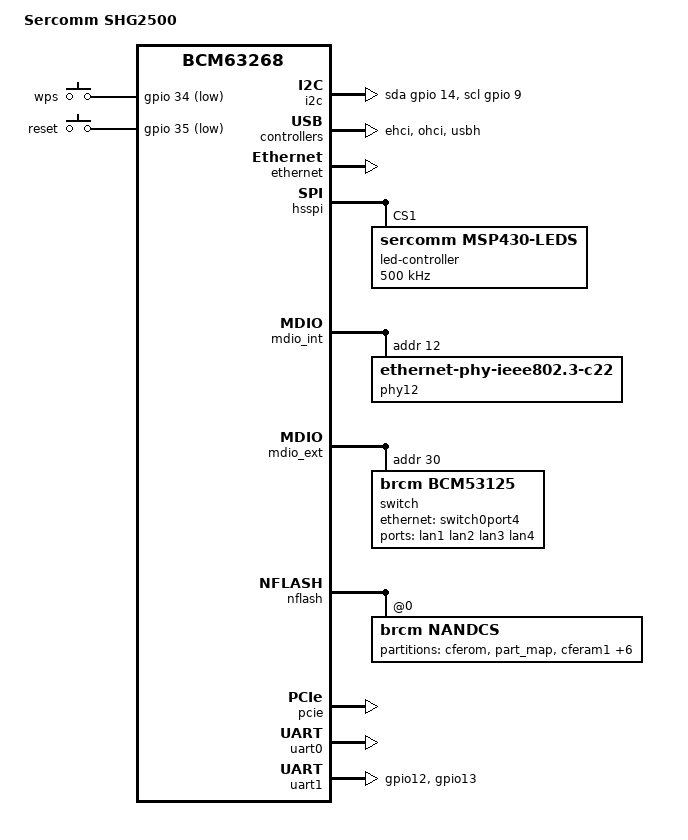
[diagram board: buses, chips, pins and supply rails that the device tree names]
// SPDX-License-Identifier: GPL-2.0-or-later

#include "bcm63268.dtsi"

/ {
	model = "Sercomm SHG2500";
	compatible = "sercomm,shg2500", "brcm,bcm63168", "brcm,bcm63268";

	aliases {
		led-boot = &led_power_red;
		led-failsafe = &led_power_red;
		led-running = &led_power_red;
		led-upgrade = &led_power_red;
	};

	i2c {
		compatible = "i2c-gpio";
		sda-gpios = <&gpio 14 (GPIO_ACTIVE_HIGH|GPIO_OPEN_DRAIN)>;
		scl-gpios = <&gpio 9 (GPIO_ACTIVE_HIGH|GPIO_OPEN_DRAIN)>;
		#address-cells = <1>;
		#size-cells = <0>;
	};

	keys {
		compatible = "gpio-keys-polled";
		poll-interval = <100>;

		wps {
			label = "wps";
			gpios = <&gpio 34 GPIO_ACTIVE_LOW>;
			linux,code = <KEY_WPS_BUTTON>;
			debounce-interval = <60>;
		};

		reset {
			label = "reset";
			gpios = <&gpio 35 GPIO_ACTIVE_LOW>;
			linux,code = <KEY_RESTART>;
			debounce-interval = <60>;
		};
	};

	bcm4360-sprom {
		compatible = "brcm,bcma-sprom";

		pci-bus = <1>;
		pci-dev = <0>;

		nvmem-cells = <&macaddr_cferom_6a0>;
		nvmem-cell-names = "mac-address";
		mac-address-increment = <1>;

		brcm,sprom = "brcm/bcm4360-sprom.bin";
	};
};

&ehci {
	status = "okay";
};

&ethernet {
	status = "okay";

	nvmem-cells = <&macaddr_cferom_6a0>;
	nvmem-cell-names = "mac-address";
};

&hsspi {
	status = "okay";

	led-controller@1 {
		compatible = "sercomm,msp430-leds";
		reg = <1>;
		spi-max-frequency = <500000>;

		led@1 {
			reg = <1>;
			label = "red:modem";
		};

		led@2 {
			reg = <2>;
			label = "green:modem";
		};

		led@3 {
			reg = <3>;
			label = "blue:modem";
		};

		led@4 {
			reg = <4>;
			label = "red:internet";
		};

		led@5 {
			reg = <5>;
			label = "red:phone";
		};

		led@6 {
			reg = <6>;
			label = "green:phone";
		};

		led@7 {
			reg = <7>;
			label = "green:wifi";
		};

		led_power_red: led@8 {
			reg = <8>;
			label = "red:power";
		};

		led@9 {
			reg = <9>;
			label = "green:internet";
		};
	};
};

&mdio_int {
	phy12: ethernet-phy@c {
		compatible = "ethernet-phy-ieee802.3-c22";
		reg = <12>;
	};
};

&mdio_ext {
	switch@1e {
		compatible = "brcm,bcm53125";
		reg = <30>;

		dsa,member = <1 0>;

		ports {
			#address-cells = <1>;
			#size-cells = <0>;

			port@1 {
				reg = <1>;
				label = "lan1";
			};

			port@2 {
				reg = <2>;
				label = "lan2";
			};

			port@3 {
				reg = <3>;
				label = "lan3";
			};

			port@4 {
				reg = <4>;
				label = "lan4";
			};

			port@8 {
				reg = <8>;

				phy-mode = "rgmii";
				ethernet = <&switch0port4>;

				fixed-link {
					speed = <1000>;
					full-duplex;
				};
			};
		};
	};
};

&nflash {
	status = "okay";

	nandcs@0 {
		compatible = "brcm,nandcs";
		reg = <0>;
		nand-ecc-step-size = <512>;
		nand-ecc-strength = <15>;
		nand-on-flash-bbt;
		brcm,nand-oob-sector-size = <64>;

		#address-cells = <1>;
		#size-cells = <1>;

		partitions {
			compatible = "fixed-partitions";
			#address-cells = <1>;
			#size-cells = <1>;

			cferom: partition@0 {
				label = "cferom";
				reg = <0x0000000 0x0020000>;
				read-only;
			};

			partition@20000 {
				label = "part_map";
				reg = <0x0020000 0x00a0000>;
				read-only;
			};

			partition@c0000 {
				label = "cferam1";
				reg = <0x00c0000 0x0140000>;
				read-only;
			};

			partition@200000 {
				label = "cferam2";
				reg = <0x0200000 0x0140000>;
				read-only;
			};

			artition@6920000 {
				label = "bootflag1";
				reg = <0x6920000 0x0140000>;
			};

			partition@6a60000 {
				label = "bootflag2";
				reg = <0x6a60000 0x0140000>;
			};

			partition@520000 {
				compatible = "sercomm,wfi";
				label = "wfi";
				reg = <0x0520000 0x6400000>;
			};

			partition@6ba0000 {
				label = "xml_cfg";
				reg = <0x6ba0000 0x0280000>;
				read-only;
			};

			partition@6e20000 {
				label = "app_data";
				reg = <0x6e20000 0x0280000>;
				read-only;
			};
		};
	};
};

&ohci {
	status = "okay";
};

&pcie {
	status = "okay";
};

&pinctrl {
	pinctrl_uart1: uart1-pins {
		pinctrl_uart1_sdin: uart1_sdin {
			function = "uart1_sdin";
			pins = "gpio12";
		};

		pinctrl_uart1_sdout: uart1_sdout {
			function = "uart1_sdout";
			pins = "gpio13";
		};
	};
};

&switch0 {
	dsa,member = <0 0>;

	ports {
		port@3 {
			reg = <3>;
			label = "wan";

			phy-handle = <&phy12>;
			phy-mode = "gmii";
		};

		switch0port4: port@4 {
			reg = <4>;
			label = "extsw";

			phy-mode = "rgmii";

			fixed-link {
				speed = <1000>;
				full-duplex;
			};
		};
	};
};

&uart0 {
	status = "okay";
};

&uart1 {
	status = "okay";

	pinctrl-names = "default";
	pinctrl-0 = <&pinctrl_uart1>;
};

&usbh {
	status = "okay";
};

&cferom {
	compatible = "nvmem-cells";
	#address-cells = <1>;
	#size-cells = <1>;

	macaddr_cferom_6a0: macaddr@6a0 {
		reg = <0x6a0 0x6>;
	};
};
